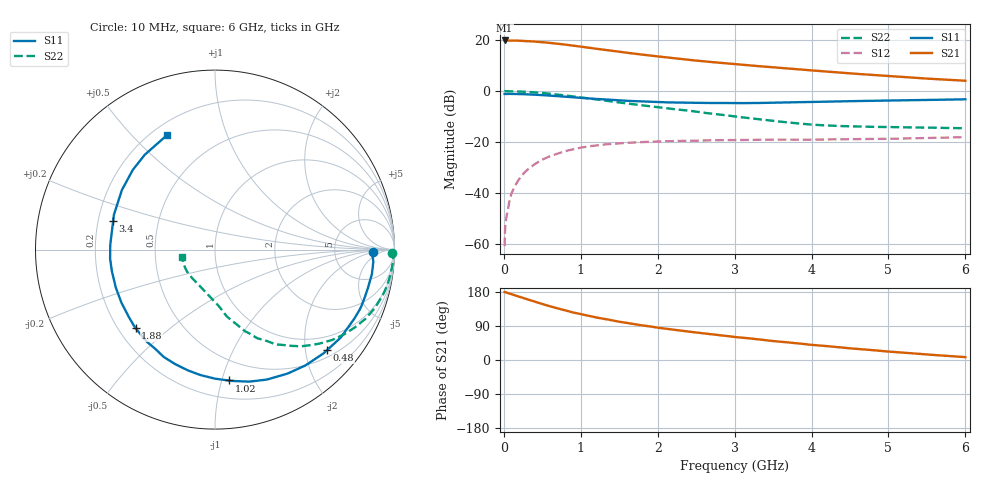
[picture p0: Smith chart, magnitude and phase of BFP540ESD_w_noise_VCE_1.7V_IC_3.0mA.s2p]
! Infineon Technologies  Discrete & RF Semiconductors
! BFP540ESD
! VCE =  1.7 V,  IC =  3.0 mA
! Common Emitter S-Parameters:  Nov 2015
# GHz  S  MA  R  50
!  f  S11  S21  S12  S22
! GHz  MAG  ANG  MAG  ANG  MAG  ANG  MAG  ANG
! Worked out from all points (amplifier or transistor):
!   210 points, 10 MHz to 6 GHz, reference 50 ohm
!   highest |S21| = 19.9 dB at 10 MHz (marker M1)
!   |S21| within 3 dB of that: start of sweep to 1.14 GHz
!   unconditionally stable (mu >= 1): 3.776 GHz to end of sweep
!   at 185 MHz: K = 0.01, MSG = 27.5 dB, |S12| = -35.2 dB
!   at 1.52 GHz: K = 0.35, MSG = 17.9 dB, |S12| = -20.5 dB
!   at 6 GHz: K = 1.31, MAG = 7.7 dB, |S12| = -18.1 dB
!   lowest NFmin = 0.63 dB at 900 MHz
!   S11 on the Smith chart (normalised r, x): 10 MHz: 16, -2; 480 MHz: 0.65, -2.46; 1.02 GHz: 0.33, -1.05; 1.88 GHz: 0.27, -0.38; 3.4 GHz: 0.26, +0.13; 6 GHz: 0.26, +0.64
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0.01  0.8817 -0.7  9.917 179.3  0.0009 90.9  0.9847 -1.2
0.02  0.8783 -2.1  9.812 179.0  0.0025 87.5  1 -1.2
0.07  0.8841 -6.2  9.886 175.5  0.0066 87.5  0.9935 -3.5
0.11  0.8834 -9.7  9.887 173.0  0.0107 85.8  0.9912 -5.5
0.26  0.8724 -22.8  9.722 163.1  0.0244 79.1  0.9757 -13.0
0.4  0.8549 -35.0  9.437 154.0  0.0366 73.3  0.9492 -19.9
0.48  0.8389 -41.9  9.257 149.0  0.0434 69.4  0.9274 -23.7
0.6  0.8188 -52.0  8.872 141.5  0.0527 64.4  0.8917 -29.1
0.8  0.7798 -68.2  8.214 130.7  0.0665 56.5  0.8247 -37.6
0.9  0.7599 -75.5  7.85 125.5  0.072 52.6  0.7899 -41.3
1.02  0.7332 -84.0  7.424 120.2  0.0785 48.9  0.7479 -45.5
1.2  0.7035 -96.7  6.816 112.3  0.0856 42.9  0.6887 -51.2
1.5  0.6628 -115.5  5.951 101.0  0.0941 35.2  0.5997 -59.3
1.7  0.6388 -126.5  5.464 94.4  0.0981 30.9  0.5482 -64.4
1.88  0.6218 -135.4  5.061 89.1  0.1013 28.3  0.5069 -67.5
2.02  0.6081 -142.7  4.793 84.8  0.103 25.8  0.4801 -70.2
2.56  0.5873 -165.8  3.907 71.1  0.1071 19.3  0.3837 -79.2
3.1  0.5826 174.1  3.301 58.9  0.1098 15.0  0.3061 -87.6
3.4  0.5896 164.2  3.025 52.4  0.1113 13.0  0.2712 -94.2
4.1  0.6182 145.0  2.49 38.4  0.1121 9.4  0.2157 -115.4
5.1  0.6596 124.9  1.94 20.8  0.1166 6.9  0.1964 -144.8
6  0.6918 112.6  1.602 7.5  0.1248 6.5  0.1873 -167.4
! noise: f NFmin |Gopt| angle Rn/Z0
0.9  0.63  0.27  45  0.15
1.8  0.89  0.21  92  0.13
2.4  0.92  0.26  109  0.1
3  1.12  0.29  144  0.09
4  1.37  0.29  -141  0.15
5  1.69  0.42  -108  0.35
6  1.9  0.55  -106  0.52
